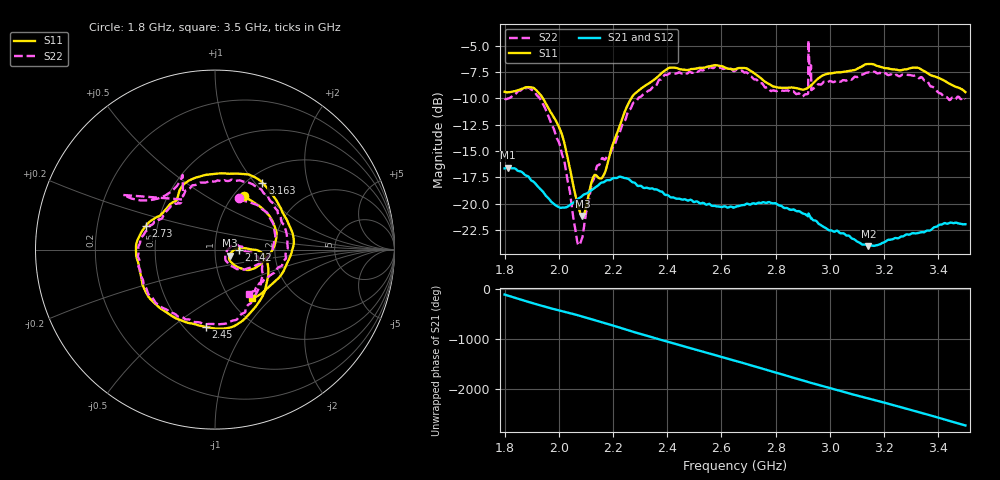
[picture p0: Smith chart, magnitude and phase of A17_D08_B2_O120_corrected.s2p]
! Created with skrf 1.9.0 (http://scikit-rf.org).
# Hz S RI R 50.0
!freq ReS11 ImS11 ReS21 ImS21 ReS12 ImS12 ReS22 ImS22
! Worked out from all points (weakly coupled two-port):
!   1601 points, 1.8 GHz to 3.5 GHz, reference 50 ohm
!   highest |S21| = -16.59 dB at 1.812 GHz (marker M1); lowest = -24.0 dB at 3.142 GHz (marker M2)
!   lowest |S11| = -21.2 dB at 2.087 GHz (marker M3), VSWR 1.19, Z = 58.7 - j3.89 ohm
!   |S11| at or under -10 dB: 1.941 GHz to 2.267 GHz (325.7 MHz wide, 15.5 % of centre)
!   |S22| runs from -24.0 to -4.5 dB; largest |S21 - S12| = 0.0029
!   S11 on the Smith chart (normalised r, x): 1.8 GHz: 1.11, +0.75; 2.142 GHz: 1.31, +0.00; 2.45 GHz: 0.63, -0.67; 2.73 GHz: 0.43, +0.13; 3.163 GHz: 1.16, +1.10; 3.5 GHz: 1.26, -0.76
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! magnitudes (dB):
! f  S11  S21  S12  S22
! 1.8 GHz  -9.4  -16.7  -16.7  -10.0
! 1.812 GHz  -9.4  -16.6  -16.6  -10.0
! 1.886 GHz  -8.9  -17.4  -17.5  -9.0
! 1.941 GHz  -10.0  -18.9  -18.9  -10.5
! 2.011 GHz  -13.4  -20.4  -20.4  -15.3
! 2.067 GHz  -19.8  -19.6  -19.6  -23.4
! 2.084 GHz  -21.1  -19.3  -19.3  -23.5
! 2.087 GHz  -21.2  -19.3  -19.3  -23.2
! 2.142 GHz  -17.4  -18.3  -18.3  -16.4
! 2.168 GHz  -17.2  -17.9  -17.9  -15.8
! 2.268 GHz  -10.0  -17.9  -17.9  -10.8
! 2.367 GHz  -7.9  -18.7  -18.7  -8.3
! 2.45 GHz  -7.3  -19.6  -19.6  -7.6
! 2.65 GHz  -7.2  -20.3  -20.3  -7.4
! 2.73 GHz  -7.8  -20.0  -20.0  -8.2
! 2.899 GHz  -9.2  -20.9  -20.9  -9.8
! 2.922 GHz  -9.0  -21.0  -21.0  -5.3
! 2.934 GHz  -8.7  -21.4  -21.4  -9.2
! 3.142 GHz  -6.7  -24.0  -23.9  -7.5
! 3.163 GHz  -6.8  -24.0  -24.0  -7.5
! 3.217 GHz  -7.2  -23.4  -23.4  -7.8
! 3.5 GHz  -9.4  -22.0  -21.9  -10.1
